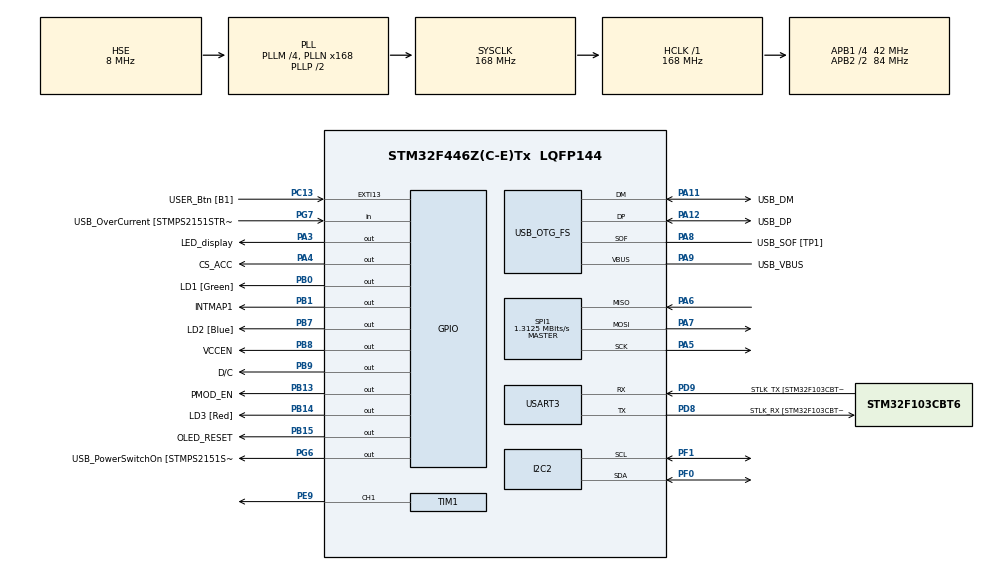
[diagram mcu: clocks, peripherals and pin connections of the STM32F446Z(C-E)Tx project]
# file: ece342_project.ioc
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Dma.Request0=USART3_TX
Dma.USART3_TX.0.Direction=DMA_MEMORY_TO_PERIPH
Dma.USART3_TX.0.FIFOMode=DMA_FIFOMODE_ENABLE
Dma.USART3_TX.0.FIFOThreshold=DMA_FIFO_THRESHOLD_FULL
Dma.USART3_TX.0.Instance=DMA1_Stream3
Dma.USART3_TX.0.MemBurst=DMA_MBURST_SINGLE
Dma.USART3_TX.0.MemDataAlignment=DMA_MDATAALIGN_BYTE
Dma.USART3_TX.0.MemInc=DMA_MINC_ENABLE
Dma.USART3_TX.0.Mode=DMA_NORMAL
Dma.USART3_TX.0.PeriphBurst=DMA_PBURST_SINGLE
Dma.USART3_TX.0.PeriphDataAlignment=DMA_PDATAALIGN_BYTE
Dma.USART3_TX.0.PeriphInc=DMA_PINC_DISABLE
Dma.USART3_TX.0.Priority=DMA_PRIORITY_MEDIUM
Mcu.Family=STM32F4
Mcu.Name=STM32F446Z(C-E)Tx
Mcu.Package=LQFP144
NVIC.DMA1_Stream3_IRQn=true\:0\:0\:false\:false\:true\:false\:true\:true
NVIC.PriorityGroup=NVIC_PRIORITYGROUP_4
NVIC.TIM6_DAC_IRQn=true\:0\:0\:false\:false\:true\:true\:true\:true
PA10.GPIO_Label=USB_ID
PA10.Signal=USB_OTG_FS_ID
PA11.GPIO_Label=USB_DM
PA11.Mode=Device_Only
PA11.Signal=USB_OTG_FS_DM
PA12.GPIO_Label=USB_DP
PA12.Mode=Device_Only
PA12.Signal=USB_OTG_FS_DP
PA13.GPIO_Label=TMS
PA13.Mode=Serial_Wire
PA13.Signal=SYS_JTMS-SWDIO
PA14.GPIO_Label=TCK
PA14.Mode=Serial_Wire
PA14.Signal=SYS_JTCK-SWCLK
PA3.GPIO_Label=LED_display
PA3.Signal=GPIO_Output
PA4.GPIO_Label=CS_ACC
PA4.Signal=GPIO_Output
PA5.Mode=Full_Duplex_Master
PA5.Signal=SPI1_SCK
PA6.Mode=Full_Duplex_Master
PA6.Signal=SPI1_MISO
PA7.Mode=Full_Duplex_Master
PA7.Signal=SPI1_MOSI
PA8.GPIO_Label=USB_SOF [TP1]
PA8.Mode=Activate_SOF_FS
PA8.Signal=USB_OTG_FS_SOF
PA9.GPIO_Label=USB_VBUS
PA9.Mode=Activate_VBUS
PA9.Signal=USB_OTG_FS_VBUS
PB0.GPIO_Label=LD1 [Green]
PB0.Signal=GPIO_Output
PB1.GPIO_Label=INTMAP1
PB1.Signal=GPIO_Output
PB13.GPIO_Label=PMOD_EN
PB13.Signal=GPIO_Output
PB14.GPIO_Label=LD3 [Red]
PB14.Signal=GPIO_Output
PB15.GPIO_Label=OLED_RESET
PB15.Signal=GPIO_Output
PB7.GPIO_Label=LD2 [Blue]
PB7.Signal=GPIO_Output
PB8.GPIO_Label=VCCEN
PB8.Signal=GPIO_Output
PB9.GPIO_Label=D/C
PB9.Signal=GPIO_Output
PC13.GPIO_Label=USER_Btn [B1]
PC13.Signal=GPXTI13
PC14-OSC32_IN.Mode=LSE-External-Oscillator
PC14-OSC32_IN.Signal=RCC_OSC32_IN
PC15-OSC32_OUT.Mode=LSE-External-Oscillator
PC15-OSC32_OUT.Signal=RCC_OSC32_OUT
PD8.GPIO_Label=STLK_RX [STM32F103CBT6_PA3]
PD8.Mode=Asynchronous
PD8.Signal=USART3_TX
PD9.GPIO_Label=STLK_TX [STM32F103CBT6_PA2]
PD9.Mode=Asynchronous
PD9.Signal=USART3_RX
PE9.Signal=S_TIM1_CH1
PF0.Mode=I2C
PF0.Signal=I2C2_SDA
PF1.Mode=I2C
PF1.Signal=I2C2_SCL
PG6.GPIO_Label=USB_PowerSwitchOn [STMPS2151STR_EN]
PG6.Signal=GPIO_Output
PG7.GPIO_Label=USB_OverCurrent [STMPS2151STR_FAULT]
PG7.Signal=GPIO_Input
PH0-OSC_IN.GPIO_Label=MCO [STM32F103CBT6_PA8]
PH0-OSC_IN.Mode=HSE-External-Clock-Source
PH0-OSC_IN.Signal=RCC_OSC_IN
PH1-OSC_OUT.Mode=HSE-External-Clock-Source
PH1-OSC_OUT.Signal=RCC_OSC_OUT
ProjectManager.HeapSize=0x200
ProjectManager.StackSize=0x400
ProjectManager.TargetToolchain=MDK-ARM V5.32
RCC.48MHZClocksFreq_Value=24000000
RCC.AHBFreq_Value=168000000
RCC.APB1CLKDivider=RCC_HCLK_DIV4
RCC.APB1Freq_Value=42000000
RCC.APB1TimFreq_Value=84000000
RCC.APB2CLKDivider=RCC_HCLK_DIV2
RCC.APB2Freq_Value=84000000
RCC.APB2TimFreq_Value=168000000
RCC.CortexFreq_Value=168000000
RCC.HCLKFreq_Value=168000000
RCC.HSE_VALUE=8000000
RCC.HSI_VALUE=16000000
RCC.PLLM=4
RCC.PLLMUL=RCC_PLL_MUL9
RCC.PLLN=168
RCC.PLLQ=7
RCC.PRESCALERUSB=RCC_USBCLKSOURCE_PLL_DIV1_5
RCC.SYSCLKFreq_VALUE=168000000
RCC.SYSCLKSource=RCC_SYSCLKSOURCE_PLLCLK
RCC.SYSCLKSourceVirtual=RCC_SYSCLKSOURCE_PLLCLK
RCC.USBFreq_Value=48000000
RCC.VCOOutputFreq_Value=336000000
SH.S_TIM1_CH1.0=TIM1_CH1,PWM Generation1 CH1
SPI1.BaudRatePrescaler=SPI_BAUDRATEPRESCALER_64
SPI1.CalculateBaudRate=1.3125 MBits/s
SPI1.Direction=SPI_DIRECTION_2LINES
SPI1.Mode=SPI_MODE_MASTER
SPI1.VirtualType=VM_MASTER
TIM1.AutoReloadPreload=TIM_AUTORELOAD_PRELOAD_ENABLE
TIM1.Channel-PWM\ Generation1\ CH1=TIM_CHANNEL_1
TIM1.Period=20
TIM1.Pulse-PWM\ Generation1\ CH1=10
USART3.VirtualMode=VM_ASYNC
USB_OTG_FS.VirtualMode=Device_Only
VP_TIM6_VS_ClockSourceINT.Mode=Enable_Timer
board=NUCLEO-F446ZE

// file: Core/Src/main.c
/* USER CODE BEGIN Header */
/**
  ******************************************************************************
  * @file           : main.c
  * @brief          : Main program body
  ******************************************************************************
  * @attention
  *
  * Copyright (c) 2023 STMicroelectronics.
  * All rights reserved.
  *
  * This software is licensed under terms that can be found in the LICENSE file
  * in the root directory of this software component.
  * If no LICENSE file comes with this software, it is provided AS-IS.
  *
  ******************************************************************************
  */
/* USER CODE END Header */
#include "main.h"
#include <string.h>
/* USER CODE BEGIN Includes */
#include <math.h>
#include "adxl362.h"
#include "ssd1306.h"
/* USER CODE END Includes */

/* USER CODE BEGIN PD */
#define SAMPLE_LENGTH 1000
/* USER CODE END PD */

I2C_HandleTypeDef hi2c2;

SPI_HandleTypeDef hspi1;

TIM_HandleTypeDef htim1;
TIM_HandleTypeDef htim6;

UART_HandleTypeDef huart3;
DMA_HandleTypeDef hdma_usart3_tx;

PCD_HandleTypeDef hpcd_USB_OTG_FS;

/* USER CODE BEGIN PV */
I2C_HandleTypeDef hi2c1;
int x_buff[20];
int y_buff[20];
int z_buff[20];
int8_t x_accl[20], y_accl[20], z_accl[20];
int totave[20], totvect[20];
int step_count = 0;
int threshhold = 10;
int flag = 0;
int x_avg, y_avg, z_avg;
int xZero, yZero, zZero;

/* USER CODE END PV */

void SystemClock_Config(void);
static void MX_GPIO_Init(void);
static void MX_DMA_Init(void);
static void MX_I2C2_Init(void);
static void MX_SPI1_Init(void);
static void MX_TIM1_Init(void);
static void MX_TIM6_Init(void);
static void MX_USART3_UART_Init(void);
static void MX_USB_OTG_FS_PCD_Init(void);
/* USER CODE BEGIN PFP */
float mean(float data[], int len);
void thresholding(int8_t y[], int lag, float threshold, float influence);
void print_msg(char * msg);
void testing_read(void);
uint16_t twosToBin(uint16_t input);
uint16_t return_value(uint16_t inp);
uint16_t swap_bytes(uint16_t x);
float stddev(float data[], int len);
/* USER CODE END PFP */

/* USER CODE BEGIN 0 */
char msg[100];
void thresholding(int8_t y[], int lag, float threshold, float influence) {
    //memset(signals, 0, sizeof(int) * SAMPLE_LENGTH);
    float filteredY[20];
    memcpy(filteredY, y, sizeof(float) * SAMPLE_LENGTH);
    float avgFilter[20];
    float stdFilter[20];

    avgFilter[lag - 1] = mean(y, lag);
    stdFilter[lag - 1] = stddev(y, lag);

    for (int i = lag; i < SAMPLE_LENGTH; i++) {
        if (fabsf(y[i] - avgFilter[i-1]) > threshold * stdFilter[i-1]) {
            if (y[i] > avgFilter[i-1]) {
              //  step_count++;
							//sprintf(msg, "%d", step_count);
							//print_msg(msg);
            } else {
                //signals[i] = -1;
            }
            filteredY[i] = influence * y[i] + (1 - influence) * filteredY[i-1];
        } else {
            //signals[i] = 0;
        }
        avgFilter[i] = mean(filteredY + i-lag, lag);
        stdFilter[i] = stddev(filteredY + i-lag, lag);
    }
}
float mean(float data[], int len) {
    float sum = 0.0, mean = 0.0;
    int i;
    for(i=0; i<len; ++i) {
        sum += data[i];
    }
    mean = sum/len;
    return mean;
}

float stddev(float data[], int len) {
    float the_mean = mean(data, len);
    float standardDeviation = 0.0;
    int i;
    for(i=0; i<len; ++i) {
        standardDeviation += pow(data[i] - the_mean, 2);
    }
    return sqrt(standardDeviation/len);
}

void print_msg(char * msg) {
  HAL_UART_Transmit(&huart3, (uint8_t *)msg, strlen(msg), 100);
}

void testing_read(void){
	print_msg("Test\n");
	uint8_t value=1;
	spi_read_old(0x00, &value);
	char msg[100];

	if(value == 0xAD){
		print_msg("seems ok\n");
		sprintf(msg, "tis this (0x%x)\r\n", value);
		print_msg(msg);
	}
	else{
		sprintf(msg, "Wrong product id (0x%x)\r\n", value);
	}
}

uint16_t twosToBin(uint16_t input){
	//flip all 11 bits
	input = input ^ 0x07ff;

	//subtract 1 to get binary
	input = input - 1;

	return input;
}
uint16_t return_value(uint16_t inp){
	int sign = 0;
	int result = 0;
	if(inp >= 0x8000){// If negative
		sign = 1;
		inp = twosToBin(inp);
	}
	//Get rid of first 4 bits
	result = inp & 0x07ff;

	if(sign == 1){
		result = 0 - result;
	}

	return result;
};

void calibrate(){
	//print_msg("Calibrating ..\n");
	int data = 0;
	for (int i = 0;i<20;i++){
		spi_read_old(ADXL362_REG_XDATA, &data);
		x_buff[i] = (int8_t)data;
			/*spi_read(0x0E, &data, 2); //xdata
			data = swap_bytes(data);
			x_buff[i] = return_value(data);
			*/
		x_avg = x_buff[i] + x_avg;
	}
	x_avg = x_avg / 20;
	for (int i = 0;i<20;i++){
		spi_read_old(ADXL362_REG_YDATA, &data);
		y_buff[i] = (int8_t)data;
			/*spi_read(0x10, &data, 2); //xdata
			data = swap_bytes(data);
			y_buff[i] = return_value(data*/
		y_avg = y_buff[i] + y_avg;
	}
	y_avg = y_avg / 20;
	for (int i = 0;i<20;i++){
		spi_read_old(ADXL362_REG_ZDATA, &data);
			z_buff[i] = (int8_t)data;
			/*spi_read(0x12, &data, 2); //xdata
			data = swap_bytes(data);
			z_buff[i] = return_value(data);*/
			z_avg = z_buff[i] + z_avg;
		}
	z_avg = z_avg / 20;
}

uint16_t swap_bytes(uint16_t x) {

  uint16_t bitmask = 0x00ff;
  uint16_t temp = x & bitmask; //lsbs
  x = x >> 8;
  temp = temp << 8;
  x = x | temp;
  return x;
}
/* USER CODE END 0 */

int main(void)
{
  /* USER CODE BEGIN 1 */
	int16_t val;
  /* USER CODE END 1 */

  /* MCU Configuration--------------------------------------------------------*/

  /* Reset of all peripherals, Initializes the Flash interface and the Systick. */
  HAL_Init();

  /* Configure the system clock */
  SystemClock_Config();

  /* Initialize all configured peripherals */
  MX_GPIO_Init();
  MX_DMA_Init();
  MX_I2C2_Init();
  MX_SPI1_Init();
  MX_TIM1_Init();
  MX_TIM6_Init();
  MX_USART3_UART_Init();
  MX_USB_OTG_FS_PCD_Init();

  /* Infinite loop */
  /* USER CODE BEGIN WHILE */
	testing_read(); //tests that device reg of accelerometer can be read
	uint8_t value=1;
	char msg[100];
	char display[100];
	//configure?
	/*uint8_t setting = 0x05;
	spi_write(0x20, &setting); //threshold active L
	setting = 0x00;
	spi_write(0x21, &setting); //threshold active H
	setting = 0x02;
	spi_write(0x22, &setting); //time act
	setting = 0xFA;
	spi_write(0x23, &setting); //inactivity
	setting = 0x02;
	spi_write(0x25, &setting); //inactivity time
	setting = 0x03;
	spi_write(0x27, &setting); //act/inactivity control reg
	setting = 0x03;
	setting = 0x83; //SENSOR_RANGE_2 = 0x03, SENSOR_RANGE_8 = 0x83
	spi_write(0x2c, &setting); //general setting (filter ctl)
	setting = 0x02;
	spi_write(0x2D, &setting); //turn on measure*/
	adxl362_init();
	adxl362_activity_config();
	//self test mode
	print_msg("call self test\n");
	uint8_t self_test=0x01;
	spi_write(SELF_TEST,&self_test);
	//print_msg("reading x\n");

	spi_read_old(ADXL362_REG_XDATA, &value); //xdata
	//sprintf(msg, "x data (%d)(0x%x)\r\n", (int) value, value);
	//print_msg(msg);
	//29,109, 169
	spi_read_old(ADXL362_REG_YDATA, &value); //ydata
	//sprintf(msg, "y data (%d)\r\n", (int) value);
	//print_msg(msg);

	spi_read_old(ADXL362_REG_ZDATA, &value); //zdata
	//sprintf(msg, "z data (%d)\r\n", (int) value);
	//print_msg(msg);

	//deassert st
	self_test=0x00;
	spi_write(0x2E,&self_test);
	uint16_t data=0;

	oled_init();
	HAL_Delay(500);
	cleardisplay();
	//drawpixel(2, 2);
	HAL_Delay(500);
	//oled_clear_screen();

	extern FontDef_t Font_7x10;
	SSD1306_COLOR_t white = SSD1306_COLOR_WHITE;

	SSD1306_Puts("Steps:", &Font_7x10, white);
	HAL_Delay(1000);
	//calibrating to get avg values
	start_zero();
	sprintf(msg, "zero x: %d, y: %d, z:%d\n",(int)xZero, yZero, zZero);
	print_msg(msg);
	calibrate_msb();
	sprintf(msg, "zero x: %d, y: %d, z:%d\n",(int)xZero, yZero, zZero);
	print_msg(msg);
	calibrate();
	sprintf(msg, "avg x: %d, y: %d, z:%d\n",(int)x_avg, y_avg, z_avg);
	print_msg(msg);
	print_msg("Done calibrating\n");

	int a=0;
	int num = 0;
	int lag = 20;
		float threshold = 5;
    float influence = 0;
    uint8_t z[10];
	print_msg("time,x_axis,y_axis,z_axis\n");
  while (1)
  {
		start_zero();
		calibrate_msb();
		calibrate();
		sprintf(msg, "zero x: %d, y: %d, z:%d\n",(int)xZero, yZero, zZero);
	print_msg(msg);
		sprintf(msg, "avg x: %d, y: %d, z:%d\n",(int)x_avg, y_avg, z_avg);
	print_msg(msg);

		HAL_Delay(1000);
		for (int i = 0; i < 10; i++)
		{
			HAL_Delay(100);
			//reading 12 bits
			/*
			x_accl[i] = adxl362_get_x();
			y_accl[i] = adxl362_get_y();
			z_accl[i] = adxl362_get_z();
			sprintf(msg, "%d,%d,%d,%d\n", num, x_accl[i],y_accl[i],z_accl[i]);
			print_msg(msg);
			*/
			//reading from 8 bit registers
			spi_read_old(ADXL362_REG_XDATA, &value); //xdata
			x_accl[i] = (int8_t)value;
			spi_read_old(ADXL362_REG_YDATA, &value); //ydata
			y_accl[i] = (int8_t)value;
			spi_read_old(ADXL362_REG_ZDATA, &value); //zdata
			z_accl[i] = (int8_t)value;
			sprintf(msg, "%d,%d,%d,%d\n", num, x_accl[i],y_accl[i],z_accl[i]);
			print_msg(msg);
			//computing the dot products
			totvect[i] = sqrt(((x_accl[i] - x_avg)*(x_accl[i] - xZero))
			+ ((y_accl[i] - y_avg) * (y_accl[i] - yZero))
			+ ((z_accl[i] - z_avg) * (z_accl[i] - zZero))); //should not be moving in the z direction
			num++;
			totave[i] = (totvect[i] + totvect[i - 1]) / 2 ;
			sprintf(msg, "totave: %d\n",(int)totave[i]);
			print_msg(msg);

    //HAL_Delay(100);
    if((totave[i]>threshhold && flag==0))
    {
			print_msg("Step taken\n");
      step_count++;
			cleardisplay();
			SSD1306_GotoXY(0,0);
			SSD1306_Puts("Steps:", &Font_7x10, white);
			sprintf(display, "%d",a);
			SSD1306_Puts(display, &Font_7x10, white);
			drawNumber(step_count);
      flag=1;
    }
    else if (totave[i] > threshhold && flag==1)
    {
        //do nothing; already considered this count
    }
    if (totave[i] <threshhold  && flag==1)
    {
      flag=0; //deassert
    }
	//	thresholding(z_accl, lag, threshold, influence);
		spi_read_old(ADXL362_REG_STATUS, &value);
		value = value & 0x10;

		if(value == 0x10 && (abs(x_accl[i])>0x09 || abs(y_accl[i]>0x09))){

			//print_msg("ACT Bit = 1\n");
			//HAL_Delay(500);
			a++;

			cleardisplay();
			SSD1306_GotoXY(0,0);
			SSD1306_Puts("Steps:", &Font_7x10, white);
			sprintf(display, "%d",a);
			SSD1306_Puts(display, &Font_7x10, white);
			drawNumber(step_count);
		}
		else{
			//print_msg("ACT Bit=0\n");
		}
		//HAL_Delay(500);
	}
		sprintf(msg, "step_count: %d\n",(int)step_count);
		//print_msg(msg);
	if( 0 == 1){
		spi_read(0x0E, &data, 2); //xdata
		data = return_value(data);
		sprintf(msg, "\nx data (%d)(0x%x)\r\n", (int) data, data);
		print_msg(msg);
		//x_data = x_data>>4;
		/*x_data=(x_data*1000)/(2000/8);
		sprintf(msg, "processing x data (%d)\r\n", x_data);
		print_msg(msg);*/

	spi_read(0x10, &data, 2); //ydata
	data = return_value(data);
	sprintf(msg, "y data (%d)(0x%x)\r\n", (int) data, data);
	print_msg(msg);

	//adxl362_read_y(&val);
	//sprintf(msg, "y data (%d)\r\n", val);
	//print_msg(msg);
	spi_read(0x12, &data, 2); //zdata
	data = return_value(data);
	sprintf(msg, "z data (%d)\r\n", (int) data);
	print_msg(msg);
	}
    /* USER CODE END WHILE */

  }
}

void SystemClock_Config(void)
{
  RCC_OscInitTypeDef RCC_OscInitStruct = {0};
  RCC_ClkInitTypeDef RCC_ClkInitStruct = {0};

  /** Configure the main internal regulator output voltage
  */
  __HAL_RCC_PWR_CLK_ENABLE();
  __HAL_PWR_VOLTAGESCALING_CONFIG(PWR_REGULATOR_VOLTAGE_SCALE1);

  /** Initializes the RCC Oscillators according to the specified parameters
  * in the RCC_OscInitTypeDef structure.
  */
  RCC_OscInitStruct.OscillatorType = RCC_OSCILLATORTYPE_HSE;
  RCC_OscInitStruct.HSEState = RCC_HSE_BYPASS;
  RCC_OscInitStruct.PLL.PLLState = RCC_PLL_ON;
  RCC_OscInitStruct.PLL.PLLSource = RCC_PLLSOURCE_HSE;
  RCC_OscInitStruct.PLL.PLLM = 4;
  RCC_OscInitStruct.PLL.PLLN = 168;
  RCC_OscInitStruct.PLL.PLLP = RCC_PLLP_DIV2;
  RCC_OscInitStruct.PLL.PLLQ = 7;
  RCC_OscInitStruct.PLL.PLLR = 2;
  if (HAL_RCC_OscConfig(&RCC_OscInitStruct) != HAL_OK)
  {
    Error_Handler();
  }

  /** Initializes the CPU, AHB and APB buses clocks
  */
  RCC_ClkInitStruct.ClockType = RCC_CLOCKTYPE_HCLK|RCC_CLOCKTYPE_SYSCLK
                              |RCC_CLOCKTYPE_PCLK1|RCC_CLOCKTYPE_PCLK2;
  RCC_ClkInitStruct.SYSCLKSource = RCC_SYSCLKSOURCE_PLLCLK;
  RCC_ClkInitStruct.AHBCLKDivider = RCC_SYSCLK_DIV1;
  RCC_ClkInitStruct.APB1CLKDivider = RCC_HCLK_DIV4;
  RCC_ClkInitStruct.APB2CLKDivider = RCC_HCLK_DIV2;

  if (HAL_RCC_ClockConfig(&RCC_ClkInitStruct, FLASH_LATENCY_5) != HAL_OK)
  {
    Error_Handler();
  }
}

static void MX_I2C2_Init(void)
{

  hi2c2.Instance = I2C2;
  hi2c2.Init.ClockSpeed = 100000;
  hi2c2.Init.DutyCycle = I2C_DUTYCYCLE_2;
  hi2c2.Init.OwnAddress1 = 0;
  hi2c2.Init.AddressingMode = I2C_ADDRESSINGMODE_7BIT;
  hi2c2.Init.DualAddressMode = I2C_DUALADDRESS_DISABLE;
  hi2c2.Init.OwnAddress2 = 0;
  hi2c2.Init.GeneralCallMode = I2C_GENERALCALL_DISABLE;
  hi2c2.Init.NoStretchMode = I2C_NOSTRETCH_DISABLE;
  if (HAL_I2C_Init(&hi2c2) != HAL_OK)
  {
    Error_Handler();
  }

}

static void MX_SPI1_Init(void)
{

  /* SPI1 parameter configuration*/
  hspi1.Instance = SPI1;
  hspi1.Init.Mode = SPI_MODE_MASTER;
  hspi1.Init.Direction = SPI_DIRECTION_2LINES;
  hspi1.Init.DataSize = SPI_DATASIZE_8BIT;
  hspi1.Init.CLKPolarity = SPI_POLARITY_LOW;
  hspi1.Init.CLKPhase = SPI_PHASE_1EDGE;
  hspi1.Init.NSS = SPI_NSS_SOFT;
  hspi1.Init.BaudRatePrescaler = SPI_BAUDRATEPRESCALER_64;
  hspi1.Init.FirstBit = SPI_FIRSTBIT_MSB;
  hspi1.Init.TIMode = SPI_TIMODE_DISABLE;
  hspi1.Init.CRCCalculation = SPI_CRCCALCULATION_DISABLE;
  hspi1.Init.CRCPolynomial = 10;
  if (HAL_SPI_Init(&hspi1) != HAL_OK)
  {
    Error_Handler();
  }

}

static void MX_TIM1_Init(void)
{

  TIM_MasterConfigTypeDef sMasterConfig = {0};
  TIM_OC_InitTypeDef sConfigOC = {0};
  TIM_BreakDeadTimeConfigTypeDef sBreakDeadTimeConfig = {0};

  htim1.Instance = TIM1;
  htim1.Init.Prescaler = 0;
  htim1.Init.CounterMode = TIM_COUNTERMODE_UP;
  htim1.Init.Period = 20;
  htim1.Init.ClockDivision = TIM_CLOCKDIVISION_DIV1;
  htim1.Init.RepetitionCounter = 0;
  htim1.Init.AutoReloadPreload = TIM_AUTORELOAD_PRELOAD_ENABLE;
  if (HAL_TIM_PWM_Init(&htim1) != HAL_OK)
  {
    Error_Handler();
  }
  sMasterConfig.MasterOutputTrigger = TIM_TRGO_RESET;
  sMasterConfig.MasterSlaveMode = TIM_MASTERSLAVEMODE_DISABLE;
  if (HAL_TIMEx_MasterConfigSynchronization(&htim1, &sMasterConfig) != HAL_OK)
  {
    Error_Handler();
  }
  sConfigOC.OCMode = TIM_OCMODE_PWM1;
  sConfigOC.Pulse = 10;
  sConfigOC.OCPolarity = TIM_OCPOLARITY_HIGH;
  sConfigOC.OCNPolarity = TIM_OCNPOLARITY_HIGH;
  sConfigOC.OCFastMode = TIM_OCFAST_DISABLE;
  sConfigOC.OCIdleState = TIM_OCIDLESTATE_RESET;
  sConfigOC.OCNIdleState = TIM_OCNIDLESTATE_RESET;
  if (HAL_TIM_PWM_ConfigChannel(&htim1, &sConfigOC, TIM_CHANNEL_1) != HAL_OK)
  {
    Error_Handler();
  }
  sBreakDeadTimeConfig.OffStateRunMode = TIM_OSSR_DISABLE;
  sBreakDeadTimeConfig.OffStateIDLEMode = TIM_OSSI_DISABLE;
  sBreakDeadTimeConfig.LockLevel = TIM_LOCKLEVEL_OFF;
  sBreakDeadTimeConfig.DeadTime = 0;
  sBreakDeadTimeConfig.BreakState = TIM_BREAK_DISABLE;
  sBreakDeadTimeConfig.BreakPolarity = TIM_BREAKPOLARITY_HIGH;
  sBreakDeadTimeConfig.AutomaticOutput = TIM_AUTOMATICOUTPUT_DISABLE;
  if (HAL_TIMEx_ConfigBreakDeadTime(&htim1, &sBreakDeadTimeConfig) != HAL_OK)
  {
    Error_Handler();
  }
  HAL_TIM_MspPostInit(&htim1);

}

static void MX_TIM6_Init(void)
{

  TIM_MasterConfigTypeDef sMasterConfig = {0};

  htim6.Instance = TIM6;
  htim6.Init.Prescaler = 0;
  htim6.Init.CounterMode = TIM_COUNTERMODE_UP;
  htim6.Init.Period = 65535;
  htim6.Init.AutoReloadPreload = TIM_AUTORELOAD_PRELOAD_DISABLE;
  if (HAL_TIM_Base_Init(&htim6) != HAL_OK)
  {
    Error_Handler();
  }
  sMasterConfig.MasterOutputTrigger = TIM_TRGO_RESET;
  sMasterConfig.MasterSlaveMode = TIM_MASTERSLAVEMODE_DISABLE;
  if (HAL_TIMEx_MasterConfigSynchronization(&htim6, &sMasterConfig) != HAL_OK)
  {
    Error_Handler();
  }

}

static void MX_USART3_UART_Init(void)
{

  huart3.Instance = USART3;
  huart3.Init.BaudRate = 115200;
  huart3.Init.WordLength = UART_WORDLENGTH_8B;
  huart3.Init.StopBits = UART_STOPBITS_1;
  huart3.Init.Parity = UART_PARITY_NONE;
  huart3.Init.Mode = UART_MODE_TX_RX;
  huart3.Init.HwFlowCtl = UART_HWCONTROL_NONE;
  huart3.Init.OverSampling = UART_OVERSAMPLING_16;
  if (HAL_UART_Init(&huart3) != HAL_OK)
  {
    Error_Handler();
  }

}

static void MX_USB_OTG_FS_PCD_Init(void)
{

  hpcd_USB_OTG_FS.Instance = USB_OTG_FS;
  hpcd_USB_OTG_FS.Init.dev_endpoints = 6;
  hpcd_USB_OTG_FS.Init.speed = PCD_SPEED_FULL;
  hpcd_USB_OTG_FS.Init.dma_enable = DISABLE;
  hpcd_USB_OTG_FS.Init.phy_itface = PCD_PHY_EMBEDDED;
  hpcd_USB_OTG_FS.Init.Sof_enable = ENABLE;
  hpcd_USB_OTG_FS.Init.low_power_enable = DISABLE;
  hpcd_USB_OTG_FS.Init.lpm_enable = DISABLE;
  hpcd_USB_OTG_FS.Init.vbus_sensing_enable = ENABLE;
  hpcd_USB_OTG_FS.Init.use_dedicated_ep1 = DISABLE;
  if (HAL_PCD_Init(&hpcd_USB_OTG_FS) != HAL_OK)
  {
    Error_Handler();
  }

}

static void MX_DMA_Init(void)
{

  /* DMA controller clock enable */
  __HAL_RCC_DMA1_CLK_ENABLE();

  /* DMA interrupt init */
  /* DMA1_Stream3_IRQn interrupt configuration */
  HAL_NVIC_SetPriority(DMA1_Stream3_IRQn, 0, 0);
  HAL_NVIC_EnableIRQ(DMA1_Stream3_IRQn);

}

static void MX_GPIO_Init(void)
{
  GPIO_InitTypeDef GPIO_InitStruct = {0};

  /* GPIO Ports Clock Enable */
  __HAL_RCC_GPIOC_CLK_ENABLE();
  __HAL_RCC_GPIOF_CLK_ENABLE();
  __HAL_RCC_GPIOH_CLK_ENABLE();
  __HAL_RCC_GPIOA_CLK_ENABLE();
  __HAL_RCC_GPIOB_CLK_ENABLE();
  __HAL_RCC_GPIOE_CLK_ENABLE();
  __HAL_RCC_GPIOD_CLK_ENABLE();
  __HAL_RCC_GPIOG_CLK_ENABLE();

  /*Configure GPIO pin Output Level */
  HAL_GPIO_WritePin(GPIOA, LED_display_Pin|CS_ACC_Pin, GPIO_PIN_RESET);

  /*Configure GPIO pin Output Level */
  HAL_GPIO_WritePin(GPIOB, LD1_Pin|INTMAP1_Pin|PMOD_EN_Pin|LD3_Pin
                          |OLED_RESET_Pin|LD2_Pin|VCCEN_Pin|D_C_Pin, GPIO_PIN_RESET);

  /*Configure GPIO pin Output Level */
  HAL_GPIO_WritePin(USB_PowerSwitchOn_GPIO_Port, USB_PowerSwitchOn_Pin, GPIO_PIN_RESET);

  /*Configure GPIO pin : USER_Btn_Pin */
  GPIO_InitStruct.Pin = USER_Btn_Pin;
  GPIO_InitStruct.Mode = GPIO_MODE_IT_RISING;
  GPIO_InitStruct.Pull = GPIO_NOPULL;
  HAL_GPIO_Init(USER_Btn_GPIO_Port, &GPIO_InitStruct);

  /*Configure GPIO pins : LED_display_Pin CS_ACC_Pin */
  GPIO_InitStruct.Pin = LED_display_Pin|CS_ACC_Pin;
  GPIO_InitStruct.Mode = GPIO_MODE_OUTPUT_PP;
  GPIO_InitStruct.Pull = GPIO_NOPULL;
  GPIO_InitStruct.Speed = GPIO_SPEED_FREQ_LOW;
  HAL_GPIO_Init(GPIOA, &GPIO_InitStruct);

  /*Configure GPIO pins : LD1_Pin INTMAP1_Pin PMOD_EN_Pin LD3_Pin
                           OLED_RESET_Pin LD2_Pin VCCEN_Pin D_C_Pin */
  GPIO_InitStruct.Pin = LD1_Pin|INTMAP1_Pin|PMOD_EN_Pin|LD3_Pin
                          |OLED_RESET_Pin|LD2_Pin|VCCEN_Pin|D_C_Pin;
  GPIO_InitStruct.Mode = GPIO_MODE_OUTPUT_PP;
  GPIO_InitStruct.Pull = GPIO_NOPULL;
  GPIO_InitStruct.Speed = GPIO_SPEED_FREQ_LOW;
  HAL_GPIO_Init(GPIOB, &GPIO_InitStruct);

  /*Configure GPIO pin : USB_PowerSwitchOn_Pin */
  GPIO_InitStruct.Pin = USB_PowerSwitchOn_Pin;
  GPIO_InitStruct.Mode = GPIO_MODE_OUTPUT_PP;
  GPIO_InitStruct.Pull = GPIO_NOPULL;
  GPIO_InitStruct.Speed = GPIO_SPEED_FREQ_LOW;
  HAL_GPIO_Init(USB_PowerSwitchOn_GPIO_Port, &GPIO_InitStruct);

  /*Configure GPIO pin : USB_OverCurrent_Pin */
  GPIO_InitStruct.Pin = USB_OverCurrent_Pin;
  GPIO_InitStruct.Mode = GPIO_MODE_INPUT;
  GPIO_InitStruct.Pull = GPIO_NOPULL;
  HAL_GPIO_Init(USB_OverCurrent_GPIO_Port, &GPIO_InitStruct);

}

void Error_Handler(void)
{
  __disable_irq();
  while (1)
  {
  }
}
